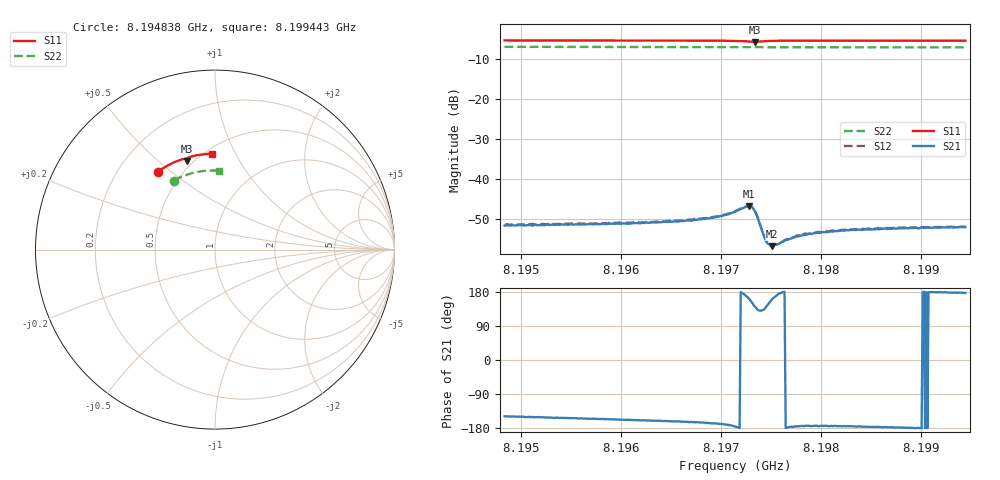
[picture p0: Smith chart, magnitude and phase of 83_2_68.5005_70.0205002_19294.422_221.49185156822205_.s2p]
#  HZ  S  RI  R  50.00
! Rohde & Schwarz Vector Network Analyzer
! Rohde-Schwarz,ZNB20-2Port,1311601062101988,3.16
! Created: UTC 3/20/2024, 4:52:14 PM
! freq[Hz]  re:S11  im:S11  re:S21  im:S21  re:S12  im:S12  re:S22  im:S22
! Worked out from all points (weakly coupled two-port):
!   401 points, 8.194838 GHz to 8.199443 GHz, reference 50 ohm
!   highest |S21| = -46.86 dB at 8.197279 GHz (marker M1); lowest = -56.9 dB at 8.197509 GHz (marker M2)
!   lowest |S11| = -5.7 dB at 8.197336 GHz (marker M3), VSWR 3.14, Z = 23.2 + j31.2 ohm
!   |S11| at or under -10 dB: nowhere
!   |S22| runs from -7.1 to -7.0 dB; largest |S21 - S12| = 0.00024
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8.1948379e9  -0.3174 0.4347  -0.00221 -0.00136  -0.0023 -0.00131  -0.2288 0.3849
8.1956092e9  -0.2713 0.4641  -0.00241 -0.00118  -0.00251 -0.00111  -0.1901 0.4041
8.1963806e9  -0.2218 0.4887  -0.0027 -0.000968  -0.00284 -0.000869  -0.1497 0.4194
8.1967029e9  -0.1999 0.4975  -0.00286 -0.000863  -0.003 -0.000776  -0.1325 0.4245
8.196818e9  -0.1917 0.5003  -0.00304 -0.000811  -0.00314 -0.000699  -0.1261 0.4263
8.1969907e9  -0.1784 0.5042  -0.00335 -0.00069  -0.00343 -0.000562  -0.1168 0.4286
8.1971404e9  -0.1652 0.5058  -0.00385 -0.000314  -0.00391 -0.000152  -0.1084 0.4304
8.197244e9  -0.1549 0.5021  -0.00438 0.000711  -0.00444 0.000908  -0.1027 0.4316
8.1972785e9  -0.1528 0.4986  -0.00432 0.0014  -0.00436 0.0016  -0.1009 0.4318
8.1973131e9  -0.1536 0.4945  -0.00382 0.00215  -0.00375 0.00234  -0.099 0.432
8.1973361e9  -0.1559 0.4931  -0.00313 0.00248  -0.00307 0.00266  -0.0978 0.4323
8.1973591e9  -0.1586 0.4935  -0.00243 0.00245  -0.00239 0.00258  -0.0967 0.4325
8.1974397e9  -0.1606 0.5024  -0.0013 0.00125  -0.00128 0.00129  -0.0925 0.4337
8.1974742e9  -0.1585 0.5058  -0.00131 0.000805  -0.00128 0.000887  -0.0906 0.434
8.1975088e9  -0.1559 0.5084  -0.00135 0.000501  -0.00136 0.000537  -0.0886 0.4343
8.1975548e9  -0.1521 0.5109  -0.00147 0.000266  -0.00151 0.000308  -0.086 0.4348
8.197739e9  -0.1372 0.5168  -0.00185 -0.000143  -0.00189 -8.59e-05  -0.0757 0.4366
8.1978196e9  -0.1312 0.5188  -0.00198 -0.000209  -0.00204 -0.000112  -0.0712 0.4371
8.1979117e9  -0.1244 0.5206  -0.00203 -0.000211  -0.00209 -0.000145  -0.0661 0.4378
8.1982225e9  -0.1019 0.5252  -0.00224 -0.000211  -0.0023 -0.000108  -0.0486 0.4396
8.198683e9  -0.0691 0.5302  -0.00237 -9.9e-05  -0.0024 3.95e-05  -0.0225 0.4408
8.1994428e9  -0.0151 0.5338  -0.00248 0.000135  -0.00251 0.000271  0.0204 0.4396
